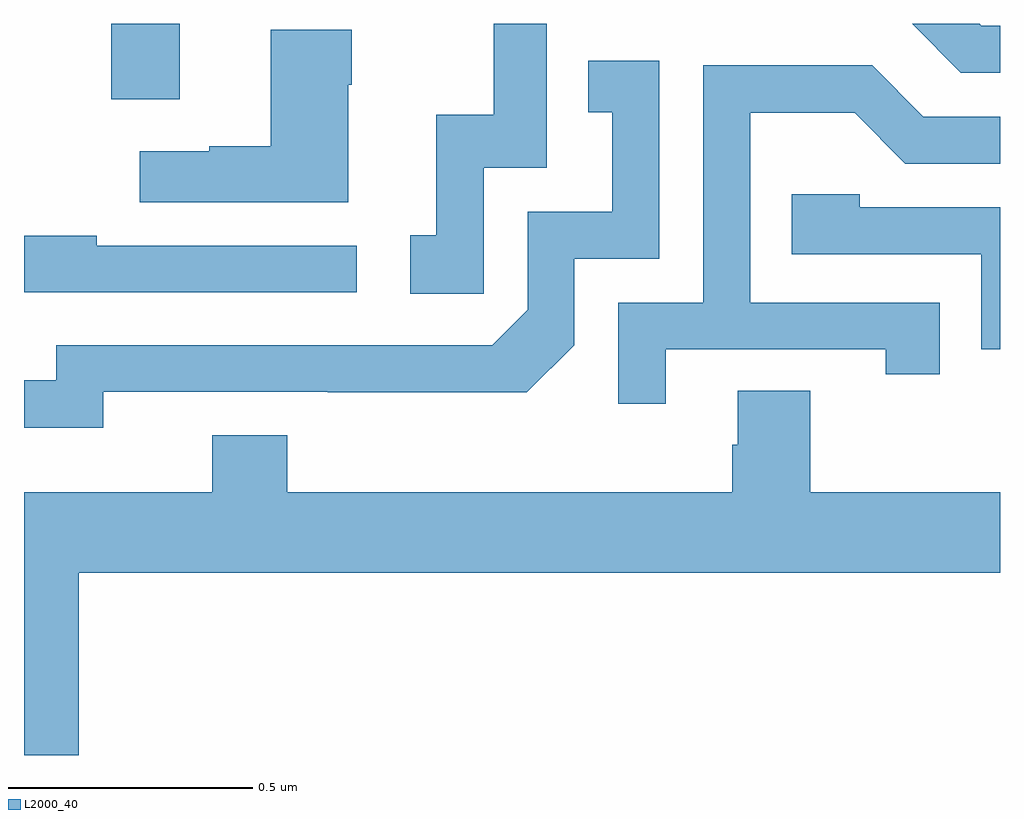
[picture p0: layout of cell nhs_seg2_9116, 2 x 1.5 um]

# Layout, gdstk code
import gdstk
lib = gdstk.Library(unit=1e-6, precision=1e-09)
def R(c, l, rs):  # rectangles x0, y0, x1, y1
    for r in rs: c.add(gdstk.rectangle(r[:2], r[2:], *l))
def P(c, l, *ps):  # polygons
    for p in ps: c.add(gdstk.Polygon(p, *l))
L2000_40 = (2000, 40)

nhs_seg2_9116 = lib.new_cell('nhs_seg2_9116')
R(nhs_seg2_9116, L2000_40, [(225.179,608.646,225.319,608.8)])
P(nhs_seg2_9116, L2000_40, [(225.942,608.505),(226.071,608.505),(226.071,608.8),(225.963,608.8),(225.963,608.614),(225.845,608.614),(225.845,608.367),(225.792,608.367),(225.792,608.247),(225.942,608.247)],
  [(227,608.796),(226.962,608.796),(226.958,608.8),(226.82,608.8),(226.92,608.7),(227,608.7)],
  [(225.664,608.675),(225.672,608.675),(225.672,608.788),(225.506,608.788),(225.506,608.549),(225.38,608.549),(225.38,608.539),(225.237,608.539),(225.237,608.435),(225.664,608.435)],
  [(225.162,608.046),(225.622,608.046),(225.622,608.045),(226.03,608.045),(226.128,608.142),(226.128,608.319),(226.302,608.319),(226.302,608.725),(226.156,608.725),(226.156,608.619),(226.205,608.619),(226.205,608.415),(226.032,608.415),(226.032,608.214),(225.96,608.142),(225.066,608.142),(225.066,608.07),(225,608.07),(225,607.973),(225.162,607.973)],
  [(226.315,608.133),(226.766,608.133),(226.766,608.082),(226.877,608.082),(226.877,608.229),(226.488,608.229),(226.488,608.618),(226.702,608.618),(226.806,608.514),(227,608.514),(227,608.61),(226.843,608.61),(226.738,608.715),(226.392,608.715),(226.392,608.229),(226.218,608.229),(226.218,608.022),(226.315,608.022)],
  [(227,608.424),(226.713,608.424),(226.713,608.451),(226.573,608.451),(226.573,608.328),(226.962,608.328),(226.962,608.133),(227,608.133)],
  [(225.682,608.346),(225.149,608.346),(225.149,608.366),(225,608.366),(225,608.25),(225.682,608.25)],
  [(225.112,607.676),(227,607.676),(227,607.84),(226.611,607.84),(226.611,608.048),(226.463,608.048),(226.463,607.938),(226.451,607.938),(226.451,607.84),(225.539,607.84),(225.539,607.957),(225.386,607.957),(225.386,607.84),(225,607.84),(225,607.302),(225.112,607.302)])

lib.write_gds('nhs_seg2_9116.gds')
